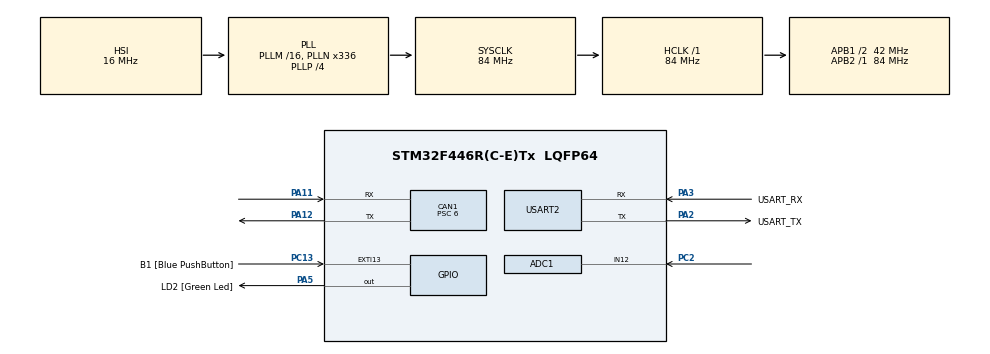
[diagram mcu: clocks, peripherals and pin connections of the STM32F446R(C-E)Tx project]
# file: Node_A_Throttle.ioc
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ADC1.Channel-0\#ChannelRegularConversion=ADC_CHANNEL_12
ADC1.NbrOfConversionFlag=1
ADC1.Rank-0\#ChannelRegularConversion=1
ADC1.SamplingTime-0\#ChannelRegularConversion=ADC_SAMPLETIME_3CYCLES
ADC1.master=1
CAN1.BS1=CAN_BS1_11TQ
CAN1.BS2=CAN_BS2_2TQ
CAN1.CalculateBaudRate=500000
CAN1.CalculateTimeBit=2000
CAN1.CalculateTimeQuantum=142.85714285714286
CAN1.Mode=CAN_MODE_LOOPBACK
CAN1.NART=ENABLE
CAN1.Prescaler=6
Mcu.Family=STM32F4
Mcu.Name=STM32F446R(C-E)Tx
Mcu.Package=LQFP64
NVIC.CAN1_RX0_IRQn=true\:0\:0\:false\:false\:true\:true\:true\:true
NVIC.PriorityGroup=NVIC_PRIORITYGROUP_0
PA11.GPIO_PuPd=GPIO_PULLUP
PA11.Mode=CAN_Activate
PA11.Signal=CAN1_RX
PA12.Mode=CAN_Activate
PA12.Signal=CAN1_TX
PA13.GPIO_Label=TMS
PA13.Mode=Serial_Wire
PA13.Signal=SYS_JTMS-SWDIO
PA14.GPIO_Label=TCK
PA14.Mode=Serial_Wire
PA14.Signal=SYS_JTCK-SWCLK
PA2.GPIO_Label=USART_TX
PA2.Mode=Asynchronous
PA2.Signal=USART2_TX
PA3.GPIO_Label=USART_RX
PA3.Mode=Asynchronous
PA3.Signal=USART2_RX
PA5.GPIO_Label=LD2 [Green Led]
PA5.Signal=GPIO_Output
PB3.GPIO_Label=SWO
PB3.Signal=SYS_JTDO-SWO
PC13.GPIO_Label=B1 [Blue PushButton]
PC13.GPIO_ModeDefaultEXTI=GPIO_MODE_IT_FALLING
PC13.Signal=GPXTI13
PC14-OSC32_IN.Mode=LSE-External-Oscillator
PC14-OSC32_IN.Signal=RCC_OSC32_IN
PC15-OSC32_OUT.Mode=LSE-External-Oscillator
PC15-OSC32_OUT.Signal=RCC_OSC32_OUT
PC2.Signal=ADCx_IN12
PH0-OSC_IN.Mode=HSE-External-Oscillator
PH0-OSC_IN.Signal=RCC_OSC_IN
PH1-OSC_OUT.Mode=HSE-External-Oscillator
PH1-OSC_OUT.Signal=RCC_OSC_OUT
ProjectManager.HeapSize=0x200
ProjectManager.StackSize=0x400
ProjectManager.TargetToolchain=CMake
RCC.48MHZClocksFreq_Value=84000000
RCC.AHBFreq_Value=84000000
RCC.APB1CLKDivider=RCC_HCLK_DIV2
RCC.APB1Freq_Value=42000000
RCC.APB1TimFreq_Value=84000000
RCC.APB2Freq_Value=84000000
RCC.APB2TimFreq_Value=84000000
RCC.CortexFreq_Value=84000000
RCC.FLatency-AdvancedSettings=FLASH_LATENCY_2
RCC.HCLKFreq_Value=84000000
RCC.HSE_VALUE=8000000
RCC.HSI_VALUE=16000000
RCC.PLLN=336
RCC.PLLP=RCC_PLLP_DIV4
RCC.SYSCLKFreq_VALUE=84000000
RCC.SYSCLKSource=RCC_SYSCLKSOURCE_PLLCLK
RCC.USBFreq_Value=168000000
RCC.VCOOutputFreq_Value=336000000
SH.ADCx_IN12.0=ADC1_IN12,IN12
USART2.VirtualMode=VM_ASYNC
board=NUCLEO-F446RE

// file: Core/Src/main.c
/* USER CODE BEGIN Header */
/**
  ******************************************************************************
  * @file           : main.c
  * @brief          : Main program body
  ******************************************************************************
  * @attention
  *
  * Copyright (c) 2026 STMicroelectronics.
  * All rights reserved.
  *
  * This software is licensed under terms that can be found in the LICENSE file
  * in the root directory of this software component.
  * If no LICENSE file comes with this software, it is provided AS-IS.
  *
  ******************************************************************************
  */
/* USER CODE END Header */
#include "main.h"

/* USER CODE BEGIN Includes */
#include <math.h>
#include <stdint.h>
#include <stdio.h>
#include <string.h>
#include "can_protocol.h"
/* USER CODE END Includes */

/* USER CODE BEGIN PTD */
typedef struct {
  float throttle_pct;       // smoothed 0..100
  float torque_limit_pct;   // 0..100 (stub for later CAN)
  uint8_t fan_req;          // 0/1 (stub for later CAN)

  float rpm;
  float speed_kph;
  float tempC;
  float voltage;

  uint8_t overtemp;
  uint8_t limited;
} PowertrainState;
/* USER CODE END PTD */

ADC_HandleTypeDef hadc1;

CAN_HandleTypeDef hcan1;

UART_HandleTypeDef huart2;

void SystemClock_Config(void);
static void MX_GPIO_Init(void);
static void MX_ADC1_Init(void);
static void MX_USART2_UART_Init(void);
static void MX_CAN1_Init(void);

/* USER CODE BEGIN 0 */

static PowertrainState pt = {
  .throttle_pct = 0.0f,
  .torque_limit_pct = 100.0f,
  .fan_req = 0,
  .rpm = 800.0f,
  .speed_kph = 0.0f,
  .tempC = 35.0f,
  .voltage = 12.6f
};

static float clampf(float x, float lo, float hi) {
  if (x < lo) return lo;
  if (x > hi) return hi;
  return x;
}

static uint8_t adc_to_pct(uint32_t adc_raw) {
  if (adc_raw > 4095U) adc_raw = 4095U;
  uint32_t pct = (adc_raw * 100U) / 4095U;
  if (pct < 3U) pct = 0U;      // deadband
  if (pct > 100U) pct = 100U;
  return (uint8_t)pct;
}

static void pt_update_model(PowertrainState* s, float dt_s) {
  // Constants
  const float RPM_IDLE = 800.0f;
  const float RPM_MAX  = 6500.0f;
  const float TEMP_AMB = 25.0f;

  const float RPM_TAU  = 0.15f;     // seconds (ramp feel)
  const float HEAT_K   = 0.00002f;  // tune if needed
  const float COOL_K   = 0.03f;
  const float COOL_FAN = 0.08f;

  // Apply torque limit
  float eff = (s->throttle_pct / 100.0f) * (s->torque_limit_pct / 100.0f);
  eff = clampf(eff, 0.0f, 1.0f);

  // RPM target and ramp
  float rpm_target = RPM_IDLE + eff * (RPM_MAX - RPM_IDLE);
  float alpha_rpm  = 1.0f - expf(-dt_s / RPM_TAU);
  s->rpm += alpha_rpm * (rpm_target - s->rpm);

  // Speed math
  float speed_target = eff * 120.0f;   // simple simulated max speed
  float alpha_speed  = 1.0f - expf(-dt_s / 0.4f);
  s->speed_kph += alpha_speed * (speed_target - s->speed_kph);

  // Temperature (rise with load, cool to ambient; fan speeds cooling)
  float heat_in = HEAT_K * s->rpm * (0.3f + 0.7f * eff);
  float cool_k  = s->fan_req ? COOL_FAN : COOL_K;
  float cool    = cool_k * (s->tempC - TEMP_AMB);
  s->tempC += (heat_in - cool) * dt_s;

  // Voltage droop with load
  s->voltage = 12.6f - 0.8f * eff;

  // Status flags
  s->overtemp = (s->tempC >= 105.0f) ? 1 : 0;
  s->limited  = (s->torque_limit_pct < 99.5f) ? 1 : 0;
}

static void uart_debug_print(const PowertrainState* s, uint32_t raw_adc, uint32_t pct_inst, uint32_t canTxOk, uint32_t canTxFail) {
  char buf[160];
  int n = snprintf(buf, sizeof(buf),
                   "ADC=%lu thr=%lu%%(inst) thr=%.1f%%(sm) lim=%.0f%% rpm=%.0f temp=%.1fC V=%.2f OT=%d FAN=%d CAN_OK=%lu CAN_FAIL=%lu\r\n",
                   (unsigned long)raw_adc,
                   (unsigned long)pct_inst,
                   s->throttle_pct,
                   s->torque_limit_pct,
                   s->rpm,
                   s->tempC,
                   s->voltage,
                   s->overtemp,
                   s->fan_req,
                   (unsigned long)canTxOk,
                   (unsigned long)canTxFail
                  );
  if (n > 0) {
    HAL_UART_Transmit(&huart2, (uint8_t*)buf, (uint16_t)n, 50);
  }
}
/* USER CODE END 0 */

int main(void)
{

  /* MCU Configuration--------------------------------------------------------*/

  /* Reset of all peripherals, Initializes the Flash interface and the Systick. */
  HAL_Init();

  /* Configure the system clock */
  SystemClock_Config();

  /* Initialize all configured peripherals */
  MX_GPIO_Init();
  MX_ADC1_Init();
  MX_USART2_UART_Init();
  MX_CAN1_Init();
  /* USER CODE BEGIN 2 */

  uint32_t accValue   = 0;
  uint32_t accPercent = 0;

  // scheduling
  uint32_t lastSenseMs = 0;
  uint32_t lastModelMs = 0;
  uint32_t lastLedMs   = 0;
  uint32_t lastUartMs  = 0;

  // CAN Scheduling
  uint32_t lastThrottleCanMs = 0;
  uint32_t lastEngineCanMs   = 0;
  uint32_t lastFaultCanMs    = 0;

  const uint32_t CAN_THROTTLE_PERIOD_MS = 50;
  const uint32_t CAN_ENGINE_PERIOD_MS   = 100;
  const uint32_t CAN_FAULT_PERIOD_MS    = 500;

  uint32_t canTxOk = 0;
  uint32_t canTxFail = 0;

  if (HAL_CAN_Start(&hcan1) != HAL_OK) {
    Error_Handler();
  }

  // tuning
  const uint32_t SENSE_PERIOD_MS = 10;   // read pot @ 100 Hz
  const uint32_t MODEL_PERIOD_MS = 10;   // update model @ 100 Hz
  const uint32_t LED_PERIOD_MS   = 500;  // heartbeat LED
  const uint32_t UART_PERIOD_MS  = 200;  // debug print rate

  // throttle smoothing
  const float THR_ALPHA = 0.15f;         // 0..1 higher = faster response
  /* USER CODE END 2 */

  /* Infinite loop */
  /* USER CODE BEGIN WHILE */
  while (1)
  {
    uint32_t now = HAL_GetTick();

    // 1) Read throttle potentiometer periodically
    if (now - lastSenseMs >= SENSE_PERIOD_MS) {
      lastSenseMs = now;

      if (HAL_ADC_Start(&hadc1) == HAL_OK) {
        if (HAL_ADC_PollForConversion(&hadc1, 10) == HAL_OK) {
          accValue = HAL_ADC_GetValue(&hadc1);
          accPercent = (accValue * 100U) / 4095U;   // instantaneous
          uint8_t pct_db = adc_to_pct(accValue);    // with deadband

          // Smooth throttle (prevents jitter)
          pt.throttle_pct = (1.0f - THR_ALPHA) * pt.throttle_pct + THR_ALPHA * (float)pct_db;
        }
        HAL_ADC_Stop(&hadc1);
      }

      // Stub "commands" (later these come from CAN Node B):
      // Fan requested if temp rising high
      pt.fan_req = (pt.tempC > 90.0f) ? 1 : 0;

      // Torque limit if overtemp (demo limp mode)
      pt.torque_limit_pct = (pt.tempC > 100.0f) ? 60.0f : 100.0f;
    }

    // Update powertrain model periodically
    if (now - lastModelMs >= MODEL_PERIOD_MS) {
      lastModelMs = now;
      pt_update_model(&pt, 0.010f); // 10ms timestep
    }

    // CAN transmit
    // Send throttle status over CAN
  if (now - lastThrottleCanMs >= CAN_THROTTLE_PERIOD_MS) {
    lastThrottleCanMs = now;

    uint8_t throttle_send = (uint8_t)clampf(pt.throttle_pct, 0.0f, 100.0f);
    uint16_t rpm_send     = (uint16_t)clampf(pt.rpm, 0.0f, 6500.0f);
    uint16_t speed_send   = (uint16_t)clampf(pt.speed_kph, 0.0f, 250.0f);

    if (CAN_Protocol_SendThrottleStatus(&hcan1, throttle_send, rpm_send, speed_send) == HAL_OK) {
      canTxOk++;
    } else {
      canTxFail++;
    }

    if (CAN_Protocol_SendThrottleStatus(
          &hcan1,
          throttle_send,
          rpm_send,
          speed_send
        ) != HAL_OK) {
      // Optional: handle TX error later
    }
  }

  // Send engine status over CAN
  if (now - lastEngineCanMs >= CAN_ENGINE_PERIOD_MS) {
    lastEngineCanMs = now;

    uint16_t rpm_send   = (uint16_t)clampf(pt.rpm, 0.0f, 6500.0f);
    uint16_t speed_send = (uint16_t)clampf(pt.speed_kph, 0.0f, 250.0f);
    uint8_t temp_send   = (uint8_t)clampf(pt.tempC, 0.0f, 255.0f);

    if (CAN_Protocol_SendEngineStatus(
          &hcan1,
          rpm_send,
          speed_send,
          temp_send,
          pt.overtemp
        ) != HAL_OK) {
      // Optional: handle TX error later
    }
  }

  // Send fault status only if active
  if (pt.overtemp && (now - lastFaultCanMs >= CAN_FAULT_PERIOD_MS)) {
    lastFaultCanMs = now;

    CAN_Protocol_SendFaultStatus(
        &hcan1,
        1,  // source_node: Node A
        1,  // fault_code: overtemperature
        1   // fault_active
    );
  }

    // Heartbeat LED (non-blocking, no HAL_Delay)
    if (now - lastLedMs >= LED_PERIOD_MS) {
      lastLedMs = now;
      HAL_GPIO_TogglePin(LD2_GPIO_Port, LD2_Pin);
    }

    // UART debug prints (optional but useful)
    if (now - lastUartMs >= UART_PERIOD_MS) {
      lastUartMs = now;
      uart_debug_print(&pt, accValue, accPercent, canTxOk, canTxFail);
    }
    /* USER CODE END WHILE */

  }
}

void SystemClock_Config(void)
{
  RCC_OscInitTypeDef RCC_OscInitStruct = {0};
  RCC_ClkInitTypeDef RCC_ClkInitStruct = {0};

  /** Configure the main internal regulator output voltage
  */
  __HAL_RCC_PWR_CLK_ENABLE();
  __HAL_PWR_VOLTAGESCALING_CONFIG(PWR_REGULATOR_VOLTAGE_SCALE3);

  /** Initializes the RCC Oscillators according to the specified parameters
  * in the RCC_OscInitTypeDef structure.
  */
  RCC_OscInitStruct.OscillatorType = RCC_OSCILLATORTYPE_HSI;
  RCC_OscInitStruct.HSIState = RCC_HSI_ON;
  RCC_OscInitStruct.HSICalibrationValue = RCC_HSICALIBRATION_DEFAULT;
  RCC_OscInitStruct.PLL.PLLState = RCC_PLL_ON;
  RCC_OscInitStruct.PLL.PLLSource = RCC_PLLSOURCE_HSI;
  RCC_OscInitStruct.PLL.PLLM = 16;
  RCC_OscInitStruct.PLL.PLLN = 336;
  RCC_OscInitStruct.PLL.PLLP = RCC_PLLP_DIV4;
  RCC_OscInitStruct.PLL.PLLQ = 2;
  RCC_OscInitStruct.PLL.PLLR = 2;
  if (HAL_RCC_OscConfig(&RCC_OscInitStruct) != HAL_OK)
  {
    Error_Handler();
  }

  /** Initializes the CPU, AHB and APB buses clocks
  */
  RCC_ClkInitStruct.ClockType = RCC_CLOCKTYPE_HCLK|RCC_CLOCKTYPE_SYSCLK
                              |RCC_CLOCKTYPE_PCLK1|RCC_CLOCKTYPE_PCLK2;
  RCC_ClkInitStruct.SYSCLKSource = RCC_SYSCLKSOURCE_PLLCLK;
  RCC_ClkInitStruct.AHBCLKDivider = RCC_SYSCLK_DIV1;
  RCC_ClkInitStruct.APB1CLKDivider = RCC_HCLK_DIV2;
  RCC_ClkInitStruct.APB2CLKDivider = RCC_HCLK_DIV1;

  if (HAL_RCC_ClockConfig(&RCC_ClkInitStruct, FLASH_LATENCY_2) != HAL_OK)
  {
    Error_Handler();
  }
}

static void MX_ADC1_Init(void)
{

  ADC_ChannelConfTypeDef sConfig = {0};

  /** Configure the global features of the ADC (Clock, Resolution, Data Alignment and number of conversion)
  */
  hadc1.Instance = ADC1;
  hadc1.Init.ClockPrescaler = ADC_CLOCK_SYNC_PCLK_DIV4;
  hadc1.Init.Resolution = ADC_RESOLUTION_12B;
  hadc1.Init.ScanConvMode = DISABLE;
  hadc1.Init.ContinuousConvMode = DISABLE;
  hadc1.Init.DiscontinuousConvMode = DISABLE;
  hadc1.Init.ExternalTrigConvEdge = ADC_EXTERNALTRIGCONVEDGE_NONE;
  hadc1.Init.ExternalTrigConv = ADC_SOFTWARE_START;
  hadc1.Init.DataAlign = ADC_DATAALIGN_RIGHT;
  hadc1.Init.NbrOfConversion = 1;
  hadc1.Init.DMAContinuousRequests = DISABLE;
  hadc1.Init.EOCSelection = ADC_EOC_SINGLE_CONV;
  if (HAL_ADC_Init(&hadc1) != HAL_OK)
  {
    Error_Handler();
  }

  /** Configure for the selected ADC regular channel its corresponding rank in the sequencer and its sample time.
  */
  sConfig.Channel = ADC_CHANNEL_12;
  sConfig.Rank = 1;
  sConfig.SamplingTime = ADC_SAMPLETIME_3CYCLES;
  if (HAL_ADC_ConfigChannel(&hadc1, &sConfig) != HAL_OK)
  {
    Error_Handler();
  }

}

static void MX_CAN1_Init(void)
{

  hcan1.Instance = CAN1;
  hcan1.Init.Prescaler = 6;
  hcan1.Init.Mode = CAN_MODE_LOOPBACK;
  hcan1.Init.SyncJumpWidth = CAN_SJW_1TQ;
  hcan1.Init.TimeSeg1 = CAN_BS1_11TQ;
  hcan1.Init.TimeSeg2 = CAN_BS2_2TQ;
  hcan1.Init.TimeTriggeredMode = DISABLE;
  hcan1.Init.AutoBusOff = DISABLE;
  hcan1.Init.AutoWakeUp = DISABLE;
  hcan1.Init.AutoRetransmission = DISABLE;
  hcan1.Init.ReceiveFifoLocked = DISABLE;
  hcan1.Init.TransmitFifoPriority = DISABLE;
  if (HAL_CAN_Init(&hcan1) != HAL_OK)
  {
    Error_Handler();
  }

}

static void MX_USART2_UART_Init(void)
{

  huart2.Instance = USART2;
  huart2.Init.BaudRate = 115200;
  huart2.Init.WordLength = UART_WORDLENGTH_8B;
  huart2.Init.StopBits = UART_STOPBITS_1;
  huart2.Init.Parity = UART_PARITY_NONE;
  huart2.Init.Mode = UART_MODE_TX_RX;
  huart2.Init.HwFlowCtl = UART_HWCONTROL_NONE;
  huart2.Init.OverSampling = UART_OVERSAMPLING_16;
  if (HAL_UART_Init(&huart2) != HAL_OK)
  {
    Error_Handler();
  }

}

static void MX_GPIO_Init(void)
{
  GPIO_InitTypeDef GPIO_InitStruct = {0};

  /* GPIO Ports Clock Enable */
  __HAL_RCC_GPIOC_CLK_ENABLE();
  __HAL_RCC_GPIOH_CLK_ENABLE();
  __HAL_RCC_GPIOA_CLK_ENABLE();
  __HAL_RCC_GPIOB_CLK_ENABLE();

  /*Configure GPIO pin Output Level */
  HAL_GPIO_WritePin(LD2_GPIO_Port, LD2_Pin, GPIO_PIN_RESET);

  /*Configure GPIO pin : B1_Pin */
  GPIO_InitStruct.Pin = B1_Pin;
  GPIO_InitStruct.Mode = GPIO_MODE_IT_FALLING;
  GPIO_InitStruct.Pull = GPIO_NOPULL;
  HAL_GPIO_Init(B1_GPIO_Port, &GPIO_InitStruct);

  /*Configure GPIO pin : LD2_Pin */
  GPIO_InitStruct.Pin = LD2_Pin;
  GPIO_InitStruct.Mode = GPIO_MODE_OUTPUT_PP;
  GPIO_InitStruct.Pull = GPIO_NOPULL;
  GPIO_InitStruct.Speed = GPIO_SPEED_FREQ_LOW;
  HAL_GPIO_Init(LD2_GPIO_Port, &GPIO_InitStruct);

}

void Error_Handler(void)
{
  __disable_irq();
  while (1)
  {
  }
}
